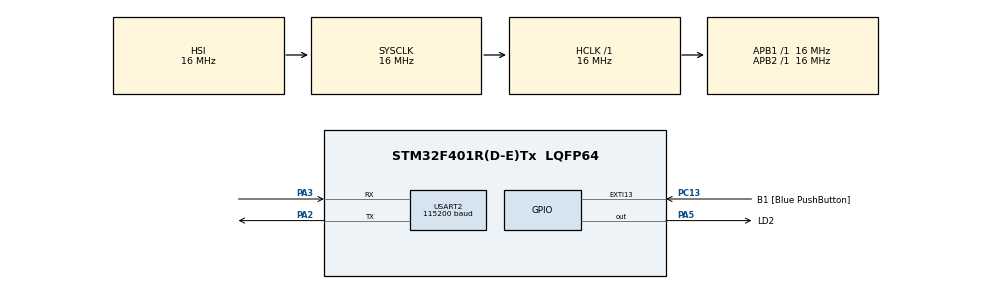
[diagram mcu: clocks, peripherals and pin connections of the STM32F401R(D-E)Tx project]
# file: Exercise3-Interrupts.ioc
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Mcu.Family=STM32F4
Mcu.Name=STM32F401R(D-E)Tx
Mcu.Package=LQFP64
NVIC.EXTI15_10_IRQn=true\:0\:0\:false\:false\:true\:true\:true\:true
NVIC.PriorityGroup=NVIC_PRIORITYGROUP_4
NVIC.TIM2_IRQn=true\:0\:0\:false\:false\:true\:true\:true\:true
PA13.Mode=Serial_Wire
PA13.Signal=SYS_JTMS-SWDIO
PA14.Mode=Serial_Wire
PA14.Signal=SYS_JTCK-SWCLK
PA2.Mode=Asynchronous
PA2.Signal=USART2_TX
PA3.Mode=Asynchronous
PA3.Signal=USART2_RX
PA5.GPIO_Label=LD2
PA5.Signal=GPIO_Output
PC13-ANTI_TAMP.GPIO_Label=B1 [Blue PushButton]
PC13-ANTI_TAMP.Signal=GPXTI13
PC14-OSC32_IN.Signal=RCC_OSC32_IN
PC15-OSC32_OUT.Signal=RCC_OSC32_OUT
PH0\ -\ OSC_IN.Signal=RCC_OSC_IN
PH1\ -\ OSC_OUT.Signal=RCC_OSC_OUT
ProjectManager.HeapSize=0x200
ProjectManager.StackSize=0x400
ProjectManager.TargetToolchain=STM32CubeIDE
RCC.AHBFreq_Value=16000000
RCC.APB1Freq_Value=16000000
RCC.APB2Freq_Value=16000000
RCC.CortexFreq_Value=16000000
RCC.HSE_VALUE=25000000
RCC.HSI_VALUE=16000000
RCC.LSE_VALUE=32768
RCC.SYSCLKFreq_VALUE=16000000
RCC.VCOOutputFreq_Value=192000000
TIM2.AutoReloadPreload=TIM_AUTORELOAD_PRELOAD_ENABLE
TIM2.Period=999
TIM2.Prescaler=15999
USART2.BaudRate=115200
USART2.VirtualMode=VM_ASYNC
VP_TIM2_VS_ClockSourceINT.Mode=Internal
board=custom

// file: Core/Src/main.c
/* USER CODE BEGIN Header */
/**
  * @file           : main.c
  * @brief          : Main program body
  */
/* USER CODE END Header */

#include "main.h"

TIM_HandleTypeDef htim2;
UART_HandleTypeDef huart2;

/* USER CODE BEGIN PV */
uint8_t message[] = "Period Elapsed\r\n";
volatile FlagStatus periodElapsed = RESET;
/* USER CODE END PV */

void SystemClock_Config(void);
static void MX_GPIO_Init(void);
static void MX_USART2_UART_Init(void);
static void MX_TIM2_Init(void);

/* USER CODE BEGIN PFP */
void User_UartCompleteCallback(UART_HandleTypeDef *huart);
void User_TIMPeriodElapsedCallback(TIM_HandleTypeDef *htim);
/* USER CODE END PFP */

int main(void)
{
    HAL_Init();

    SystemClock_Config();

    MX_GPIO_Init();
    MX_USART2_UART_Init();
    MX_TIM2_Init();

    /* USER CODE BEGIN 2 */

    /* Register the UART transmit-complete callback. */
    if (HAL_UART_RegisterCallback(&huart2,
                                 HAL_UART_TX_COMPLETE_CB_ID,
                                 User_UartCompleteCallback) != HAL_OK)
    {
        Error_Handler();
    }

    /* Register the TIM2 period-elapsed callback. */
    if (HAL_TIM_RegisterCallback(&htim2,
                                 HAL_TIM_PERIOD_ELAPSED_CB_ID,
                                 User_TIMPeriodElapsedCallback) != HAL_OK)
    {
        Error_Handler();
    }

    /* Start TIM2 with interrupts enabled. */
    if (HAL_TIM_Base_Start_IT(&htim2) != HAL_OK)
    {
        Error_Handler();
    }

    /* USER CODE END 2 */

    /* Infinite loop */
    while (1)
    {
        /* USER CODE BEGIN 3 */

        if (periodElapsed == SET)
        {
            periodElapsed = RESET;

            /* Start UART transmission without blocking. */
            if (HAL_UART_Transmit_IT(&huart2,
                                     message,
                                     sizeof(message) - 1U) != HAL_OK)
            {
                /* Transmission did not start. */
            }
        }

        /* USER CODE END 3 */
    }
}

void SystemClock_Config(void)
{
    RCC_OscInitTypeDef RCC_OscInitStruct = {0};
    RCC_ClkInitTypeDef RCC_ClkInitStruct = {0};

    __HAL_RCC_PWR_CLK_ENABLE();
    __HAL_PWR_VOLTAGESCALING_CONFIG(PWR_REGULATOR_VOLTAGE_SCALE2);

    RCC_OscInitStruct.OscillatorType = RCC_OSCILLATORTYPE_HSI;
    RCC_OscInitStruct.HSIState = RCC_HSI_ON;
    RCC_OscInitStruct.HSICalibrationValue = RCC_HSICALIBRATION_DEFAULT;
    RCC_OscInitStruct.PLL.PLLState = RCC_PLL_NONE;

    if (HAL_RCC_OscConfig(&RCC_OscInitStruct) != HAL_OK)
    {
        Error_Handler();
    }

    RCC_ClkInitStruct.ClockType = RCC_CLOCKTYPE_HCLK |
                                  RCC_CLOCKTYPE_SYSCLK |
                                  RCC_CLOCKTYPE_PCLK1 |
                                  RCC_CLOCKTYPE_PCLK2;

    RCC_ClkInitStruct.SYSCLKSource = RCC_SYSCLKSOURCE_HSI;
    RCC_ClkInitStruct.AHBCLKDivider = RCC_SYSCLK_DIV1;
    RCC_ClkInitStruct.APB1CLKDivider = RCC_HCLK_DIV1;
    RCC_ClkInitStruct.APB2CLKDivider = RCC_HCLK_DIV1;

    if (HAL_RCC_ClockConfig(&RCC_ClkInitStruct,
                            FLASH_LATENCY_0) != HAL_OK)
    {
        Error_Handler();
    }
}

static void MX_TIM2_Init(void)
{
    TIM_ClockConfigTypeDef sClockSourceConfig = {0};
    TIM_MasterConfigTypeDef sMasterConfig = {0};

    htim2.Instance = TIM2;
    htim2.Init.Prescaler = 15999;
    htim2.Init.CounterMode = TIM_COUNTERMODE_UP;
    htim2.Init.Period = 999;
    htim2.Init.ClockDivision = TIM_CLOCKDIVISION_DIV1;
    htim2.Init.AutoReloadPreload = TIM_AUTORELOAD_PRELOAD_ENABLE;

    if (HAL_TIM_Base_Init(&htim2) != HAL_OK)
    {
        Error_Handler();
    }

    sClockSourceConfig.ClockSource = TIM_CLOCKSOURCE_INTERNAL;

    if (HAL_TIM_ConfigClockSource(&htim2,
                                  &sClockSourceConfig) != HAL_OK)
    {
        Error_Handler();
    }

    sMasterConfig.MasterOutputTrigger = TIM_TRGO_RESET;
    sMasterConfig.MasterSlaveMode = TIM_MASTERSLAVEMODE_DISABLE;

    if (HAL_TIMEx_MasterConfigSynchronization(&htim2,
                                              &sMasterConfig) != HAL_OK)
    {
        Error_Handler();
    }
}

static void MX_USART2_UART_Init(void)
{
    huart2.Instance = USART2;
    huart2.Init.BaudRate = 115200;
    huart2.Init.WordLength = UART_WORDLENGTH_8B;
    huart2.Init.StopBits = UART_STOPBITS_1;
    huart2.Init.Parity = UART_PARITY_NONE;
    huart2.Init.Mode = UART_MODE_TX_RX;
    huart2.Init.HwFlowCtl = UART_HWCONTROL_NONE;
    huart2.Init.OverSampling = UART_OVERSAMPLING_16;

    if (HAL_UART_Init(&huart2) != HAL_OK)
    {
        Error_Handler();
    }
}

static void MX_GPIO_Init(void)
{
    GPIO_InitTypeDef GPIO_InitStruct = {0};

    __HAL_RCC_GPIOC_CLK_ENABLE();
    __HAL_RCC_GPIOH_CLK_ENABLE();
    __HAL_RCC_GPIOA_CLK_ENABLE();

    HAL_GPIO_WritePin(LD2_GPIO_Port, LD2_Pin, GPIO_PIN_RESET);

    /* Configure the blue user button as an interrupt input. */
    GPIO_InitStruct.Pin = B1_Pin;
    GPIO_InitStruct.Mode = GPIO_MODE_IT_RISING;
    GPIO_InitStruct.Pull = GPIO_NOPULL;
    HAL_GPIO_Init(B1_GPIO_Port, &GPIO_InitStruct);

    /* Configure the onboard green LED as an output. */
    GPIO_InitStruct.Pin = LD2_Pin;
    GPIO_InitStruct.Mode = GPIO_MODE_OUTPUT_PP;
    GPIO_InitStruct.Pull = GPIO_NOPULL;
    GPIO_InitStruct.Speed = GPIO_SPEED_FREQ_LOW;
    HAL_GPIO_Init(LD2_GPIO_Port, &GPIO_InitStruct);

    /* Enable the blue button interrupt.
       The interrupt is still configured, but its callback below
       no longer changes the LED. */
    HAL_NVIC_SetPriority(EXTI15_10_IRQn, 0, 0);
    HAL_NVIC_EnableIRQ(EXTI15_10_IRQn);
}

/* USER CODE BEGIN 4 */

/* Blue-button callback.
   Previously, this function turned the LED ON when the button was pressed:
       HAL_GPIO_WritePin(LD2_GPIO_Port, LD2_Pin, GPIO_PIN_SET);
   That command has been removed so the button does not control the LED. */
void HAL_GPIO_EXTI_Callback(uint16_t GPIO_Pin)
{
    /* Intentionally do nothing when the blue button is pressed. */
    (void)GPIO_Pin;
}

/* Called when USART2 finishes transmitting the message.
   This is what toggles the green LED automatically. */
void User_UartCompleteCallback(UART_HandleTypeDef *huart)
{
    if (huart->Instance == USART2)
    {
        HAL_GPIO_TogglePin(LD2_GPIO_Port, LD2_Pin);
    }
}

/* Called when TIM2 reaches the end of its period. */
void User_TIMPeriodElapsedCallback(TIM_HandleTypeDef *htim)
{
    if (htim->Instance == TIM2)
    {
        periodElapsed = SET;
    }
}

/* USER CODE END 4 */

/**
  * @brief This function is executed in case of an error.
  * @retval None
  */
void Error_Handler(void)
{
    __disable_irq();

    while (1)
    {
    }
}
